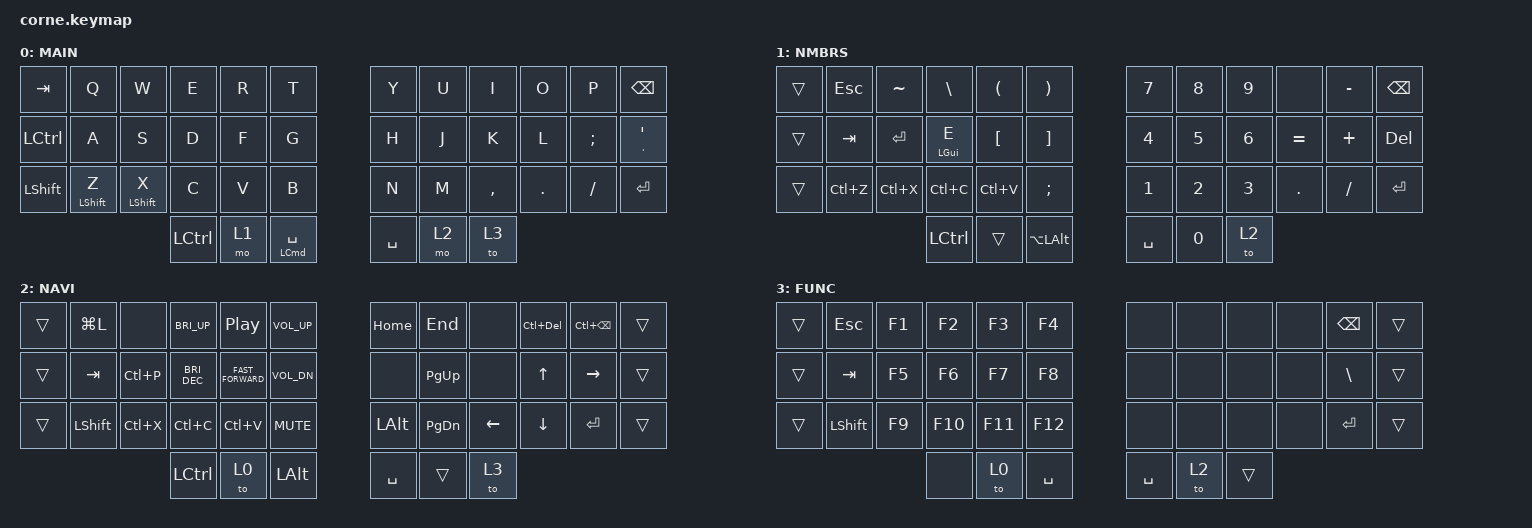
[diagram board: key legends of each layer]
#include <behaviors.dtsi>
#include <dt-bindings/zmk/keys.h>

#define DEFAULT 0
#define NUMBERS 1
#define NAVIGATION 2
#define FUNCTION 3

/ {
    behaviors {
        hm: homerow_mods {
            compatible = "zmk,behavior-hold-tap";
            label = "HOMEROW_MODS";
            #binding-cells = <2>;
            tapping-term-ms = <150>;
            flavor = "tap-preferred";
            bindings = <&kp>, <&kp>;

            quick-tap-ms = <200>;
        };

        keymap {
            compatible = "zmk,keymap";

            QWERTY {
                label = "MAIN";
                bindings = <
&kp TAB    &kp Q             &kp W             &kp E             &kp R  &kp T                     &kp Y      &kp U  &kp I      &kp O       &kp P      &kp BSPC
&kp LCTRL  &kp A             &kp S             &kp D             &kp F  &kp G                     &kp H      &kp J  &kp K      &kp L       &kp SEMI   &hm SINGLE_QUOTE SINGLE_QUOTE
&kp LSHFT  &hm LEFT_SHIFT Z  &hm LEFT_SHIFT X  &kp C             &kp V  &kp B                     &kp N      &kp M  &kp COMMA  &kp PERIOD  &kp SLASH  &kp RET
                                               &kp LEFT_CONTROL  &mo 1  &hm LEFT_COMMAND SPACE    &kp SPACE  &mo 2  &to 3
                >;
            };

            numbers_layer {
                bindings = <
&trans  &kp ESC    &kp TILDE  &kp BSLH          &kp LEFT_PARENTHESIS  &kp RIGHT_PARENTHESIS    &kp N7     &kp N8  &kp N9  &none      &kp MINUS  &kp BACKSPACE
&trans  &kp TAB    &kp RET    &hm LGUI E        &kp LBKT              &kp RBKT                 &kp N4     &kp N5  &kp N6  &kp EQUAL  &kp PLUS   &kp DEL
&trans  &kp LC(Z)  &kp LC(X)  &kp LC(C)         &kp LC(V)             &kp SEMICOLON            &kp N1     &kp N2  &kp N3  &kp DOT    &kp SLASH  &kp RET
                              &kp LEFT_CONTROL  &trans                &kp LA(LEFT_ALT)         &kp SPACE  &kp N0  &to 2
                >;

                label = "NMBRS";
            };

            navigation_layer {
                bindings = <
&trans  &kp LG(L)  &none      &kp C_BRI_UP      &kp C_PLAY_PAUSE    &kp C_VOLUME_UP    &kp HOME      &kp END    &none     &kp LC(DELETE)  &kp LC(BSPC)  &trans
&trans  &kp TAB    &kp LC(P)  &kp C_BRI_DEC     &kp C_FAST_FORWARD  &kp C_VOL_DN       &none         &kp PG_UP  &none     &kp UP          &kp RIGHT     &trans
&trans  &kp LSHFT  &kp LC(X)  &kp LC(C)         &kp LC(V)           &kp K_MUTE         &kp LEFT_ALT  &kp PG_DN  &kp LEFT  &kp DOWN        &kp RET       &trans
                              &kp LEFT_CONTROL  &to 0               &kp LEFT_ALT       &kp SPACE     &trans     &to 3
                >;

                label = "NAVI";
            };

            function_layer {
                bindings = <
&trans  &kp ESC    &kp F1  &kp F2   &kp F3   &kp F4       &none      &none  &none   &none  &kp BSPC  &trans
&trans  &kp TAB    &kp F5  &kp F6   &kp F7   &kp F8       &none      &none  &none   &none  &kp BSLH  &trans
&trans  &kp LSHFT  &kp F9  &kp F10  &kp F11  &kp F12      &none      &none  &none   &none  &kp RET   &trans
                           &none    &to 0    &kp SPACE    &kp SPACE  &to 2  &trans
                >;

                label = "FUNC";
            };
        };
    };
};
